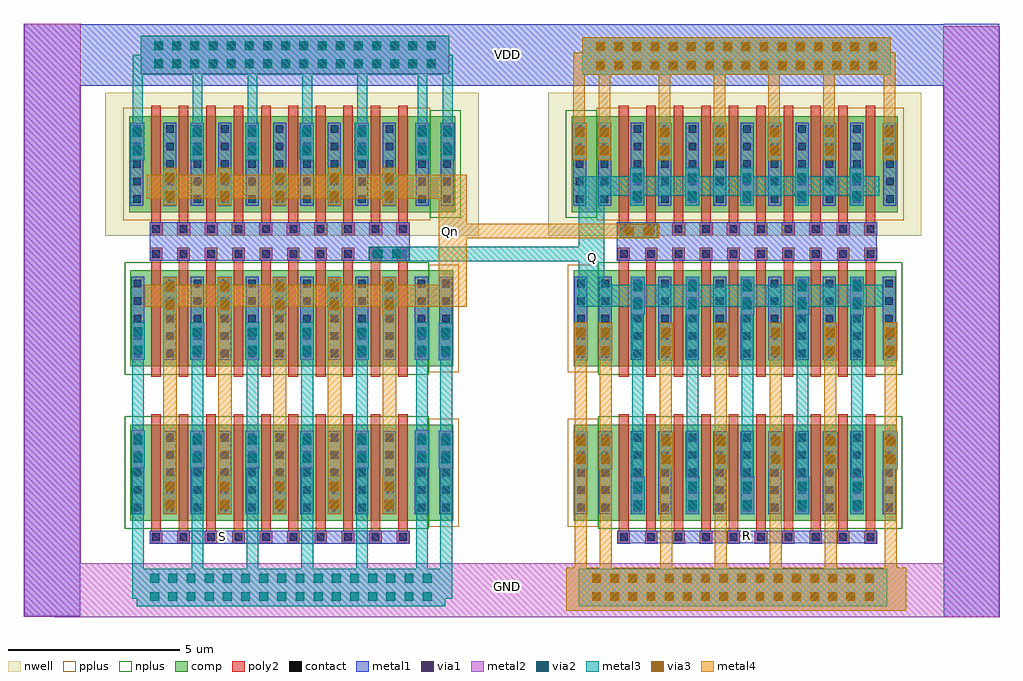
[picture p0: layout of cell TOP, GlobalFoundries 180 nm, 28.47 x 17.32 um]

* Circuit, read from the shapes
.subckt TOP GND Q Qn R S VDD
XM1 Qn S GND GND nfet_03v3 w=2.8u l=0.28u m=10
XM2 Qn Q GND GND nfet_03v3 w=2.8u l=0.28u m=10
XM3 Q R GND GND nfet_03v3 w=2.8u l=0.28u m=10
XM4 Q Qn GND GND nfet_03v3 w=2.8u l=0.28u m=10
XM5 Qn Q VDD VDD pfet_03v3 w=2.8u l=0.28u m=10
XM6 Q Qn VDD VDD pfet_03v3 w=2.8u l=0.28u m=10
.ends

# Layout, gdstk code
from math import pi, radians
import gdstk
lib = gdstk.Library(unit=1e-6, precision=5e-09)
def R(c, l, rs):  # rectangles x0, y0, x1, y1
    for r in rs: c.add(gdstk.rectangle(r[:2], r[2:], *l))
def A(c, l, x, y, w, h, nx, ny, dx, dy):  # array of equal rectangles
    R(c, l, [(x+i*dx, y+j*dy, x+i*dx+w, y+j*dy+h) for i in range(nx) for j in range(ny)])
nwell = (21, 0)
comp = (22, 0)
poly2 = (30, 0)
pplus = (31, 0)
nplus = (32, 0)
contact = (33, 0)
metal1 = (34, 0)
via1 = (35, 0)
metal2 = (36, 0)
via2 = (38, 0)
via3 = (40, 0)
metal3 = (42, 0)
metal4 = (46, 0)

nfet_1 = lib.new_cell('nfet$1')
R(nfet_1, comp, [(-0.42,0,0,2.8), (0,0,7.86,2.8), (7.86,0,8.28,2.8), (8.28,0,8.99,2.8)])
A(nfet_1, poly2, 0.19, -0.3, 0.28, 3.4, 10, 1, 0.8, 0)
A(nfet_1, poly2, 0.15, 3.1, 0.36, 0.36, 10, 1, 0.8, 0)
R(nfet_1, pplus, [(8.28,-0.17,9.16,2.97)])
R(nfet_1, nplus, [(-0.59,-0.24,8.28,3.04)])
A(nfet_1, contact, -0.32, 0.27, 0.22, 0.22, 1, 5, 0, 0.51)
A(nfet_1, contact, 0.62, 0.27, 0.22, 0.22, 9, 5, 0.8, 0.51)
A(nfet_1, contact, 7.96, 0.27, 0.22, 0.22, 1, 5, 0, 0.51)
A(nfet_1, contact, 8.67, 0.27, 0.22, 0.22, 1, 5, 0, 0.51)
A(nfet_1, contact, 0.22, 3.17, 0.22, 0.22, 10, 1, 0.8, 0)
A(nfet_1, metal1, 0.54, 0.19, 0.38, 2.42, 9, 1, 0.8, 0)
A(nfet_1, metal1, 0.14, 3.09, 0.38, 0.38, 10, 1, 0.8, 0)
R(nfet_1, metal1, [(-0.4,0.19,-0.02,2.61), (7.88,0.19,8.26,2.61), (8.59,0.19,8.97,2.61)])

pfet_1 = lib.new_cell('pfet$1')
R(pfet_1, nwell, [(-1.15,-0.69,9.74,3.49)])
R(pfet_1, comp, [(-0.46,0,0,2.8), (0,0,7.86,2.8), (7.86,0,8.32,2.8), (8.32,0,9.05,2.8)])
A(pfet_1, poly2, 0.14, -0.68, 0.38, 0.38, 10, 1, 0.8, 0)
A(pfet_1, poly2, 0.19, -0.3, 0.28, 3.4, 10, 1, 0.8, 0)
R(pfet_1, pplus, [(-0.63,-0.24,8.32,3.04)])
R(pfet_1, nplus, [(8.32,-0.17,9.22,2.97)])
A(pfet_1, contact, 0.22, -0.6, 0.22, 0.22, 10, 1, 0.8, 0)
A(pfet_1, contact, -0.34, 0.27, 0.22, 0.22, 1, 5, 0, 0.51)
A(pfet_1, contact, 0.62, 0.27, 0.22, 0.22, 9, 5, 0.8, 0.51)
A(pfet_1, contact, 7.98, 0.27, 0.22, 0.22, 1, 5, 0, 0.51)
A(pfet_1, contact, 8.71, 0.27, 0.22, 0.22, 1, 5, 0, 0.51)
A(pfet_1, metal1, 0.14, -0.68, 0.38, 0.38, 10, 1, 0.8, 0)
A(pfet_1, metal1, 0.54, 0.19, 0.38, 2.42, 9, 1, 0.8, 0)
R(pfet_1, metal1, [(-0.42,0.19,-0.04,2.61), (7.9,0.19,8.28,2.61), (8.63,0.19,9.01,2.61)])

via_dev_1 = lib.new_cell('via_dev$1')
R(via_dev_1, metal1, [(0,0,0.4,1.1)])
R(via_dev_1, via1, [(0.07,0.155,0.33,0.415), (0.07,0.685,0.33,0.945)])
R(via_dev_1, metal2, [(0,0,0.4,1.1)])
R(via_dev_1, via2, [(0.07,0.155,0.33,0.415), (0.07,0.685,0.33,0.945)])
R(via_dev_1, metal3, [(0,0,0.4,1.1)])

via_dev = lib.new_cell('via_dev')
R(via_dev, metal1, [(0,0,0.4,1.1)])
R(via_dev, via1, [(0.07,0.155,0.33,0.415), (0.07,0.685,0.33,0.945)])
R(via_dev, metal2, [(0,0,0.4,1.1)])
R(via_dev, via2, [(0.07,0.155,0.33,0.415), (0.07,0.685,0.33,0.945)])
R(via_dev, via3, [(0.07,0.155,0.33,0.415), (0.07,0.685,0.33,0.945)])
R(via_dev, metal3, [(0,0,0.4,1.1)])
R(via_dev, metal4, [(0,0,0.4,1.1)])

nfet = lib.new_cell('nfet')
R(nfet, comp, [(-0.42,0,0,2.8), (0,0,7.86,2.8), (7.86,0,8.28,2.8), (8.28,0,8.99,2.8)])
A(nfet, poly2, 0.15, -0.66, 0.36, 0.36, 10, 1, 0.8, 0)
A(nfet, poly2, 0.19, -0.3, 0.28, 3.4, 10, 1, 0.8, 0)
R(nfet, pplus, [(8.28,-0.17,9.16,2.97)])
R(nfet, nplus, [(-0.59,-0.24,8.28,3.04)])
A(nfet, contact, 0.22, -0.59, 0.22, 0.22, 10, 1, 0.8, 0)
A(nfet, contact, -0.32, 0.27, 0.22, 0.22, 1, 5, 0, 0.51)
A(nfet, contact, 0.62, 0.27, 0.22, 0.22, 9, 5, 0.8, 0.51)
A(nfet, contact, 7.96, 0.27, 0.22, 0.22, 1, 5, 0, 0.51)
A(nfet, contact, 8.67, 0.27, 0.22, 0.22, 1, 5, 0, 0.51)
A(nfet, metal1, 0.14, -0.67, 0.38, 0.38, 10, 1, 0.8, 0)
A(nfet, metal1, 0.54, 0.19, 0.38, 2.42, 9, 1, 0.8, 0)
R(nfet, metal1, [(-0.4,0.19,-0.02,2.61), (7.88,0.19,8.26,2.61), (8.59,0.19,8.97,2.61)])

via_dev_4 = lib.new_cell('via_dev$4')
R(via_dev_4, metal2, [(0,0,9,1.1)])
A(via_dev_4, via2, 0.395, 0.155, 0.26, 0.26, 16, 2, 0.53, 0.53)
R(via_dev_4, metal3, [(0,0,9,1.1)])

via_dev_5 = lib.new_cell('via_dev$5')
R(via_dev_5, metal2, [(0,0,9,1.1)])
A(via_dev_5, via2, 0.395, 0.155, 0.26, 0.26, 16, 2, 0.53, 0.53)
A(via_dev_5, via3, 0.395, 0.155, 0.26, 0.26, 16, 2, 0.53, 0.53)
R(via_dev_5, metal3, [(0,0,9,1.1)])
R(via_dev_5, metal4, [(0,0,9,1.1)])

via_dev_2 = lib.new_cell('via_dev$2')
R(via_dev_2, metal1, [(0,0,9,1.1)])
A(via_dev_2, via1, 0.395, 0.155, 0.26, 0.26, 16, 2, 0.53, 0.53)
R(via_dev_2, metal2, [(0,0,9,1.1)])
A(via_dev_2, via2, 0.395, 0.155, 0.26, 0.26, 16, 2, 0.53, 0.53)
A(via_dev_2, via3, 0.395, 0.155, 0.26, 0.26, 16, 2, 0.53, 0.53)
R(via_dev_2, metal3, [(0,0,9,1.1)])
R(via_dev_2, metal4, [(0,0,9,1.1)])

via_dev_3 = lib.new_cell('via_dev$3')
R(via_dev_3, metal1, [(0,0,9,1.1)])
A(via_dev_3, via1, 0.395, 0.155, 0.26, 0.26, 16, 2, 0.53, 0.53)
R(via_dev_3, metal2, [(0,0,9,1.1)])
A(via_dev_3, via2, 0.395, 0.155, 0.26, 0.26, 16, 2, 0.53, 0.53)
R(via_dev_3, metal3, [(0,0,9,1.1)])

via_dev_7 = lib.new_cell('via_dev$7')
R(via_dev_7, metal1, [(0,0,1.1,0.4)])
R(via_dev_7, via1, [(0.155,0.07,0.415,0.33), (0.685,0.07,0.945,0.33)])
R(via_dev_7, metal2, [(0,0,1.1,0.4)])
R(via_dev_7, via2, [(0.155,0.07,0.415,0.33), (0.685,0.07,0.945,0.33)])
R(via_dev_7, metal3, [(0,0,1.1,0.4)])

via_dev_6 = lib.new_cell('via_dev$6')
R(via_dev_6, metal1, [(0,0,1.1,0.4)])
R(via_dev_6, via1, [(0.155,0.07,0.415,0.33), (0.685,0.07,0.945,0.33)])
R(via_dev_6, metal2, [(0,0,1.1,0.4)])
R(via_dev_6, via2, [(0.155,0.07,0.415,0.33), (0.685,0.07,0.945,0.33)])
R(via_dev_6, via3, [(0.155,0.07,0.415,0.33), (0.685,0.07,0.945,0.33)])
R(via_dev_6, metal3, [(0,0,1.1,0.4)])
R(via_dev_6, metal4, [(0,0,1.1,0.4)])

top = lib.new_cell('TOP')
R(top, metal1, [(10.81,-7.32,12.42,9.99), (-16.015,-7.285,-14.39,9.995), (-12.36,-5.175,-4.775,-4.79), (1.28,-5.155,8.85,-4.79), (-12.36,3.09,-4.78,4.2), (-12.36,3.09,-4.78,4.2), (1.27,3.09,8.85,4.2), (-15.205,8.19,11.695,9.985)])
R(top, metal2, [(-15.145,-7.31,11.645,-5.745), (10.795,-7.31,12.43,9.92), (-16.04,-7.295,-14.375,10)])
A(top, metal3, 1.71, -4.305, 0.335, 6.695, 5, 1, 1.6, 0)
A(top, metal3, -11.135, -3.11, 0.34, 4.39, 4, 1, 1.6, 0)
A(top, metal3, -11.105, 6.055, 0.285, 2.87, 4, 1, 1.6, 0)
R(top, metal3, [(-12.875,-6.775,-3.54,-5.995), (-12.875,-6.775,-3.54,-5.995), (-3.88,-6.27,-3.54,-1.88), (-3.88,-6.27,-3.54,-1.88), (-12.875,-6.26,-12.535,-1.87), (-12.875,-6.26,-12.535,-1.87), (-11.135,-6.26,-10.795,-1.87), (-11.135,-6.26,-10.795,-1.87), (-9.535,-6.26,-9.195,-1.87), (-9.535,-6.26,-9.195,-1.87), (-7.935,-6.26,-7.595,-1.87), (-7.935,-6.26,-7.595,-1.87), (-6.335,-6.26,-5.995,-1.87), (-6.335,-6.26,-5.995,-1.87), (-4.59,-6.26,-4.25,-1.87), (-4.59,-6.26,-4.25,-1.87), (-3.88,-3.12,-3.54,1.27), (-12.875,-3.11,-12.535,1.28), (-4.59,-3.11,-4.25,1.28), (0.155,1.745,0.895,5.55), (0.895,1.745,9.02,2.39), (-5.925,3.065,0.905,3.485), (0.83,4.985,8.92,5.55), (-3.805,6.015,-3.52,8.885), (-12.85,6.025,-12.565,8.895), (-4.545,6.025,-4.26,8.895), (-12.85,8.505,-3.52,9.095)])
A(top, metal4, 2.53, -6.31, 0.35, 4.41, 4, 1, 1.6, 0)
A(top, metal4, 2.525, -3.15, 0.35, 4.41, 4, 1, 1.6, 0)
A(top, metal4, 2.49, 6.025, 0.335, 2.95, 4, 1, 1.6, 0)
R(top, metal4, [(-0.215,-7.125,9.705,-5.875), (0.775,-6.315,1.125,-1.905), (9.09,-6.31,9.44,-1.9), (0.045,-6.3,0.395,-1.89), (-11.96,-4.305,-11.57,2.395), (-11.96,-4.305,-11.57,2.395), (-10.36,-4.305,-9.97,2.395), (-10.36,-4.305,-9.97,2.395), (-8.76,-4.305,-8.37,2.395), (-8.76,-4.305,-8.37,2.395), (-7.16,-4.305,-6.77,2.395), (-7.16,-4.305,-6.77,2.395), (-5.56,-4.305,-5.17,2.395), (-5.56,-4.305,-5.17,2.395), (0.77,-3.155,1.12,1.255), (0.04,-3.14,0.39,1.27), (9.085,-3.125,9.435,1.285), (-12.505,1.745,-3.465,2.38), (-12.505,1.745,-3.465,2.38), (-3.925,1.745,-3.115,5.595), (-3.925,3.74,2.51,4.16), (-12.44,4.89,-3.465,5.595), (0.745,6.015,1.08,8.965), (0,6.025,0.335,8.975), (9.055,6.04,9.39,8.99), (0.005,8.585,9.39,9.155)])
top.add(gdstk.Reference(nfet_1, (9,0), rotation=pi, x_reflection=True))
top.add(gdstk.Reference(pfet_1, (9,4.5), rotation=pi, x_reflection=True))
top.add(gdstk.Reference(pfet_1, (-12.5,4.5)))
top.add(gdstk.Reference(via_dev_1, (-12.92,6.01)))
r = gdstk.Reference(via_dev_1, (-11.175,6.01)); r.repetition = gdstk.Repetition(4, 1, v1=(1.6,0), v2=(0,0)); top.add(r)
r = gdstk.Reference(via_dev, (-11.97,4.695)); r.repetition = gdstk.Repetition(5, 1, v1=(1.6,0), v2=(0,0)); top.add(r)
top.add(gdstk.Reference(via_dev_1, (-4.61,6.01)))
top.add(gdstk.Reference(via_dev_1, (-3.87,6.01)))
r = gdstk.Reference(via_dev_1, (1.665,4.69)); r.repetition = gdstk.Repetition(5, 1, v1=(1.6,0), v2=(0,0)); top.add(r)
top.add(gdstk.Reference(via_dev, (-0.015,6.015)))
top.add(gdstk.Reference(via_dev, (0.705,6.01)))
top.add(gdstk.Reference(via_dev, (9.02,6.015)))
r = gdstk.Reference(via_dev_1, (1.675,1.51)); r.repetition = gdstk.Repetition(5, 1, v1=(1.6,0), v2=(0,0)); top.add(r)
r = gdstk.Reference(via_dev, (2.47,6.01)); r.repetition = gdstk.Repetition(4, 1, v1=(1.6,0), v2=(0,0)); top.add(r)
top.add(gdstk.Reference(via_dev, (0.015,0.185)))
top.add(gdstk.Reference(via_dev, (0.735,0.18)))
top.add(gdstk.Reference(via_dev, (9.05,0.185)))
r = gdstk.Reference(via_dev, (2.5,0.18)); r.repetition = gdstk.Repetition(4, 1, v1=(1.6,0), v2=(0,0)); top.add(r)
top.add(gdstk.Reference(nfet_1, (-12.5,0)))
top.add(gdstk.Reference(nfet_1, (-12.5,0)))
r = gdstk.Reference(via_dev, (-11.97,1.505)); r.repetition = gdstk.Repetition(5, 1, v1=(1.6,0), v2=(0,0)); top.add(r)
r = gdstk.Reference(via_dev, (-11.97,1.505)); r.repetition = gdstk.Repetition(5, 1, v1=(1.6,0), v2=(0,0)); top.add(r)
top.add(gdstk.Reference(nfet, (-12.5,-4.5)))
top.add(gdstk.Reference(via_dev_1, (-3.92,0.18)))
top.add(gdstk.Reference(via_dev_1, (-4.62,0.195)))
r = gdstk.Reference(via_dev_1, (-11.17,0.19)); r.repetition = gdstk.Repetition(4, 1, v1=(1.6,0), v2=(0,0)); top.add(r)
top.add(gdstk.Reference(nfet, (9,-4.5), rotation=pi, x_reflection=True))
top.add(gdstk.Reference(via_dev_1, (-12.9,0.195)))
r = gdstk.Reference(via_dev_1, (-11.17,0.19)); r.repetition = gdstk.Repetition(4, 1, v1=(1.6,0), v2=(0,0)); top.add(r)
top.add(gdstk.Reference(via_dev_1, (-4.62,0.195)))
top.add(gdstk.Reference(via_dev_1, (-3.92,0.18)))
top.add(gdstk.Reference(via_dev_1, (-3.92,-2.98)))
top.add(gdstk.Reference(via_dev_1, (-4.62,-2.965)))
r = gdstk.Reference(via_dev_1, (-11.17,-2.97)); r.repetition = gdstk.Repetition(4, 1, v1=(1.6,0), v2=(0,0)); top.add(r)
top.add(gdstk.Reference(via_dev_1, (-12.9,-2.965)))
r = gdstk.Reference(via_dev, (-11.97,-4.305)); r.repetition = gdstk.Repetition(5, 1, v1=(1.6,0), v2=(0,0)); top.add(r)
top.add(gdstk.Reference(via_dev, (0.02,-2.995)))
top.add(gdstk.Reference(via_dev, (0.74,-3)))
top.add(gdstk.Reference(via_dev, (9.055,-2.995)))
r = gdstk.Reference(via_dev, (2.505,-3)); r.repetition = gdstk.Repetition(4, 1, v1=(1.6,0), v2=(0,0)); top.add(r)
r = gdstk.Reference(via_dev_1, (1.675,-4.315)); r.repetition = gdstk.Repetition(5, 1, v1=(1.6,0), v2=(0,0)); top.add(r)
top.add(gdstk.Reference(via_dev_4, (-12.74,-6.995)))
top.add(gdstk.Reference(via_dev_5, (0.15,-6.995)))
top.add(gdstk.Reference(via_dev_2, (0.265,8.505)))
top.add(gdstk.Reference(via_dev_3, (-12.625,8.545)))
top.add(gdstk.Reference(via_dev_7, (-5.975,3.085)))
top.add(gdstk.Reference(via_dev_6, (1.35,3.75)))
top.add(gdstk.Label('VDD', (-1.925,9.105), layer=34, texttype=10))
top.add(gdstk.Label('S', (-10.225,-4.975), layer=34, texttype=10))
top.add(gdstk.Label('R', (5.055,-4.935), layer=34, texttype=10))
top.add(gdstk.Label('Q', (0.56,3.17), layer=42, texttype=10))
top.add(gdstk.Label('Qn', (-3.585,3.94), layer=46, texttype=10))
top.add(gdstk.Label('GND', (-1.935,-6.42), layer=36, texttype=10))

lib.write_gds('TOP.gds')
